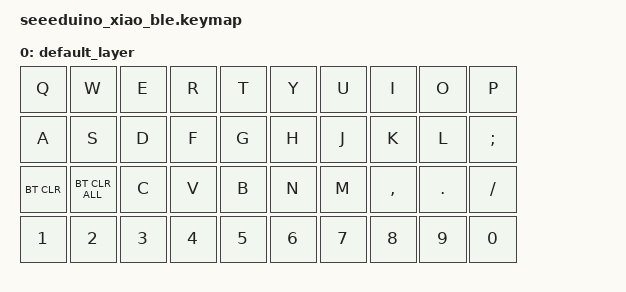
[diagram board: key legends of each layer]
#include <behaviors.dtsi>
#include <dt-bindings/zmk/keys.h>
#include <dt-bindings/zmk/bt.h>
#include <dt-bindings/zmk/matrix_transform.h>

/ {
    chosen {
        zmk,kscan = &kscan0;
        zmk,matrix_transform = &default_transform;
    };

    /* Built-in Blue LED definition for Seeed XIAO BLE indicator */
    leds {
        compatible = "gpio-leds";
        blue_led: led_2 {
            gpios = <&gpio0 26 GPIO_ACTIVE_LOW>;
            label = "Blue LED";
        };
    };

    aliases {
        led-blue = &blue_led;
    };

    /* Matrix transform mapping 4 rows x 10 columns (5 left + 5 right) */
    default_transform: keymap_transform_0 {
        compatible = "zmk,matrix-transform";
        columns = <10>;
        rows = <4>;
        map = <
            RC(0,0) RC(0,1) RC(0,2) RC(0,3) RC(0,4)    RC(0,5) RC(0,6) RC(0,7) RC(0,8) RC(0,9)
            RC(1,0) RC(1,1) RC(1,2) RC(1,3) RC(1,4)    RC(1,5) RC(1,6) RC(1,7) RC(1,8) RC(1,9)
            RC(2,0) RC(2,1) RC(2,2) RC(2,3) RC(2,4)    RC(2,5) RC(2,6) RC(2,7) RC(2,8) RC(2,9)
            RC(3,0) RC(3,1) RC(3,2) RC(3,3) RC(3,4)    RC(3,5) RC(3,6) RC(3,7) RC(3,8) RC(3,9)
        >;
    };

    kscan0: kscan {
        compatible = "zmk,kscan-gpio-matrix";
        diode-direction = "col2row";

        row-gpios =
            <&xiao_d 10 (GPIO_ACTIVE_HIGH | GPIO_PULL_DOWN)>,
            <&xiao_d 9  (GPIO_ACTIVE_HIGH | GPIO_PULL_DOWN)>,
            <&xiao_d 8  (GPIO_ACTIVE_HIGH | GPIO_PULL_DOWN)>,
            <&xiao_d 7  (GPIO_ACTIVE_HIGH | GPIO_PULL_DOWN)>;

        col-gpios =
            <&xiao_d 1 GPIO_ACTIVE_HIGH>,
            <&xiao_d 2 GPIO_ACTIVE_HIGH>,
            <&xiao_d 3 GPIO_ACTIVE_HIGH>,
            <&xiao_d 4 GPIO_ACTIVE_HIGH>,
            <&xiao_d 5 GPIO_ACTIVE_HIGH>;
    };

    keymap {
        compatible = "zmk,keymap";

        /* Layer 0: Test QWERTY Layout */
        default_layer {
            bindings = <
                /* LEFT HALF */                                                         /* RIGHT HALF */
                &kp Q         &kp W           &kp E   &kp R   &kp T        &kp Y        &kp U   &kp I      &kp O     &kp P
                &kp A         &kp S           &kp D   &kp F   &kp G        &kp H        &kp J   &kp K      &kp L     &kp SEMI
                &bt BT_CLR    &bt BT_CLR_ALL  &kp C   &kp V   &kp B        &kp N        &kp M   &kp COMMA  &kp DOT   &kp FSLH
                &kp N1        &kp N2          &kp N3  &kp N4  &kp N5       &kp N6       &kp N7  &kp N8     &kp N9    &kp N0
            >;
        };
    };
};
